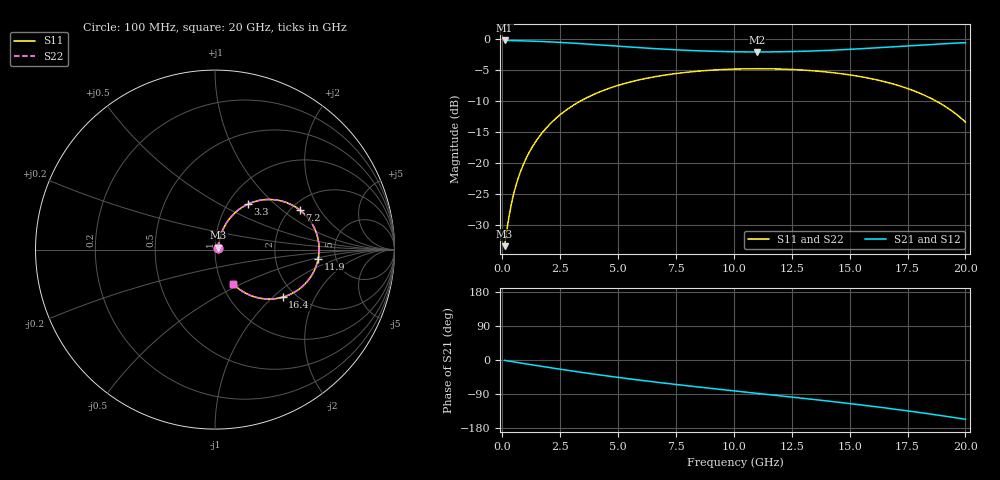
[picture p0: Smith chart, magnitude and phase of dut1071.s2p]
! Touchstone file exported from HFSS 2026.1.0
!  File:  C:/ffzhzh/LocalFiles/Ansys_Project_Files/temp_train_TSV_RDL_1071_1783299536_38704.aedt
!  Generated:  09:09:50 AM Jul  6, 2026
!  Design:  TSV_RDL
!  Project:  temp_train_TSV_RDL_1071_1783299536_38704
! Variables:
!  h_bsmrdl = 4.28um
!  h_ox = 20um
!  h_rdl = 5um
!  h_sub = 55.58um
!  h_tmrdl = 2.02um
!  h_tsv = 55.58um
!  h_via = 3um
!  l_bsmrdl = 422.57um
!  l_sub = 2828.14um
!  l_tmrdl = 255um
!  m_sub = 200um
!  pitch = 51.92um
!  r_tsv = 2.98um
!  s_tmrdl = 10um
!  w_bsmrdl = 23.31um
!  w_sub = 500um
!  w_tmrdl = 23.5um
!  x_tsv_center1 = 266.75um
!  x_tsv_center2 = 712.63um
!  x_tsv_center3 = 991.13um
!  x_tsv_center4 = 1437.01um
!  x_tsv_center5 = 1715.51um
!  x_tsv_center6 = 2161.39um
# GHz S MA R 50.000000
! Terminal data exported
! Port[1] = TM_RDL1_1_T1
! Port[2] = TM_RDL5_1_T1
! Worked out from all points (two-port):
!   200 points, 100 MHz to 20 GHz, reference 50 ohm
!   highest |S21| = -0.16 dB at 100 MHz (marker M1); lowest = -2.0 dB at 11 GHz (marker M2)
!   |S21| within 3 dB of the highest: start of sweep to end of sweep
!   lowest |S11| = -33.5 dB at 100 MHz (marker M3), VSWR 1.04, Z = 51.8 + j1.12 ohm
!   |S11| at or under -10 dB: start of sweep to 3.361 GHz; 18.75 GHz to end of sweep
!   |S22| runs from -33.5 to -4.7 dB; largest |S21 - S12| = 2e-13
!   S11 on the Smith chart (normalised r, x): 100 MHz: 1.04, +0.02; 3.3 GHz: 1.23, +0.69; 7.2 GHz: 2.22, +1.35; 11.9 GHz: 3.64, -0.55; 16.4 GHz: 1.72, -1.16; 20 GHz: 1.13, -0.45
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0.1  0.02122 30.6  0.9819 -1.0  0.9819 -1.0  0.02122 30.6
! Gamma 0 0 0 0
! Port Impedance 50 0 50 0
0.3  0.03786 56.8  0.9805 -3.1  0.9805 -3.1  0.03786 56.8
0.5  0.05709 64.5  0.9787 -5.1  0.9787 -5.1  0.05709 64.5
0.8  0.08644 68.1  0.9756 -8.0  0.9756 -8.0  0.08644 68.1
1.1  0.1158 68.5  0.9721 -11.0  0.9721 -11.0  0.1158 68.5
1.5  0.1545 67.1  0.9664 -14.9  0.9664 -14.9  0.1545 67.1
2  0.2013 64.1  0.9576 -19.6  0.9576 -19.6  0.2013 64.1
3.3  0.3116 54.2  0.9274 -31.6  0.9274 -31.6  0.3116 54.2
3.5  0.3268 52.6  0.9222 -33.4  0.9222 -33.4  0.3268 52.6
5.1  0.4305 40.2  0.8792 -46.7  0.8792 -46.7  0.4305 40.2
6.8  0.5074 27.9  0.8385 -59.6  0.8385 -59.6  0.5074 27.9
7.2  0.521 25.2  0.8304 -62.5  0.8304 -62.5  0.521 25.2
8.7  0.5587 15.2  0.8067 -72.8  0.8067 -72.8  0.5587 15.2
10.1  0.5766 6.3  0.7948 -82.1  0.7948 -82.1  0.5766 6.3
11  0.58 0.6  0.7925 -87.9  0.7925 -87.9  0.58 0.6
11.9  0.5772 -5.0  0.7945 -93.8  0.7945 -93.8  0.5772 -5.0
13.4  0.5584 -14.6  0.8069 -103.8  0.8069 -103.8  0.5584 -14.6
14.9  0.5204 -24.6  0.8299 -114.2  0.8299 -114.2  0.5205 -24.6
16.4  0.4606 -35.2  0.8615 -125.4  0.8615 -125.4  0.4606 -35.2
16.7  0.4457 -37.4  0.8685 -127.7  0.8685 -127.7  0.4457 -37.4
18.6  0.3274 -51.8  0.9141 -143.6  0.9141 -143.6  0.3275 -51.8
20  0.2146 -62.1  0.9424 -156.3  0.9424 -156.3  0.2146 -62.1
